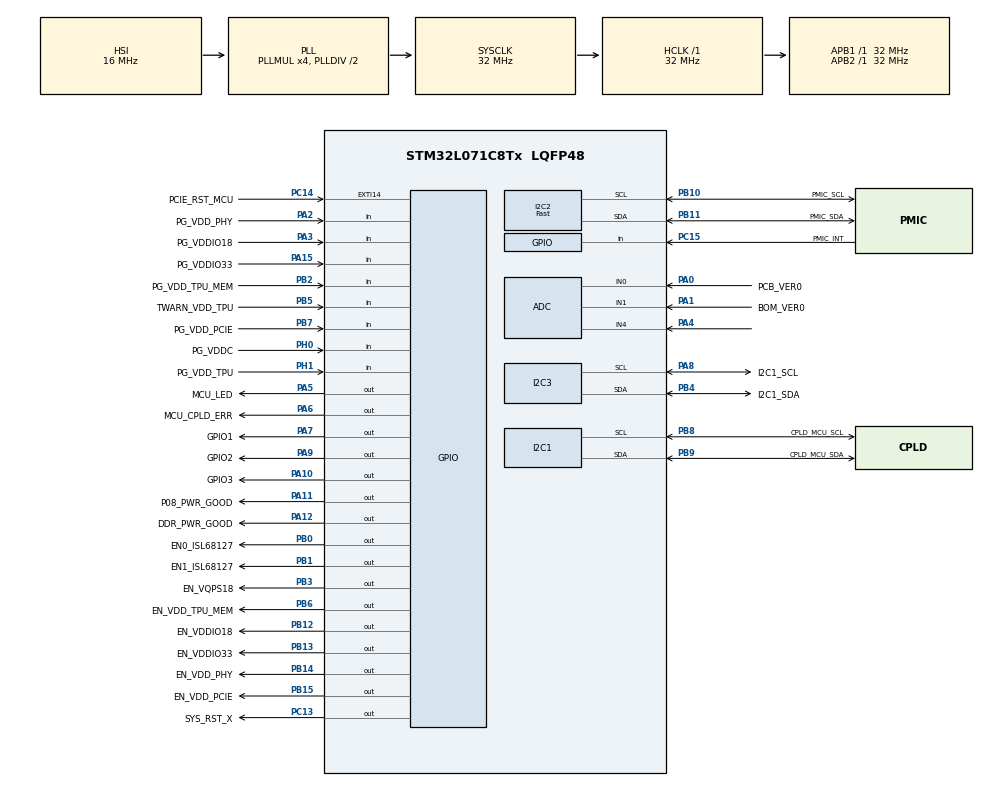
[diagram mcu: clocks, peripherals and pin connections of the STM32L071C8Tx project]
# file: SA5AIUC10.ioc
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Mcu.Family=STM32L0
PA2.GPIO_PuPd=GPIO_NOPULL
PH0-OSC_IN.GPIO_PuPd=GPIO_NOPULL
PH0-OSC_IN.Signal=GPIO_Input
PB10.Mode=I2C
PA10.GPIO_PuPd=GPIO_PULLDOWN
PB14.GPIO_Label=EN_VDD_PHY
PA3.GPIO_PuPd=GPIO_NOPULL
I2C2.Timing=0x00300F38
PA0.GPIO_Label=PCB_VER0
PA6.GPIO_Label=MCU_CPLD_ERR
PB0.GPIO_Label=EN0_ISL68127
PB6.GPIO_Label=EN_VDD_TPU_MEM
PA11.GPIO_PuPd=GPIO_PULLDOWN
PC13.GPIO_Label=SYS_RST_X
PB13.GPIO_Label=EN_VDDIO33
PB11.Signal=I2C2_SDA
PB13.Signal=GPIO_Output
PB15.Signal=GPIO_Output
PC15-OSC32_OUT.GPIO_Label=PMIC_INT
RCC.SYSCLKSource=RCC_SYSCLKSOURCE_PLLCLK
ProjectManager.StackSize=0x400
NVIC.I2C1_IRQn=true\:0\:0\:true\:false\:true\:true\:true
ADC.DiscontinuousConvMode=ENABLE
PA15.GPIO_Label=PG_VDDIO33
PA12.Signal=GPIO_Output
PA4.Mode=IN4
PB1.GPIO_PuPd=GPIO_PULLDOWN
RCC.HCLKFreq_Value=32000000
I2C2.I2C_Speed_Mode=I2C_Fast
RCC.APB2TimFreq_Value=32000000
PB6.Signal=GPIO_Output
RCC.AHBFreq_Value=32000000
PH0-OSC_IN.GPIO_Label=PG_VDDC
RCC.HSE_VALUE=8000000
PB2.Signal=GPIO_Input
RCC.PLLMUL=RCC_PLLMUL_4
PB12.GPIO_Label=EN_VDDIO18
LPTIM1.ClockPrescaler=LPTIM_PRESCALER_DIV128
PB3.GPIO_PuPd=GPIO_PULLDOWN
PB4.Mode=I2C
I2C1.NoStretchMode=I2C_NOSTRETCH_DISABLE
PA14.Mode=Serial_Wire
PB1.GPIO_Label=EN1_ISL68127
PA10.GPIO_Label=GPIO3
PA0.Mode=IN0
PC13.GPIO_PuPd=GPIO_PULLDOWN
PB7.Signal=GPIO_Input
PA8.Signal=I2C3_SCL
PB2.GPIO_PuPd=GPIO_NOPULL
PA0.Signal=ADC_IN0
PB7.GPIO_Label=PG_VDD_PCIE
Mcu.Package=LQFP48
PB9.Signal=I2C1_SDA
PB14.GPIO_PuPd=GPIO_PULLDOWN
PB1.Signal=GPIO_Output
PA6.Signal=GPIO_Output
PB15.GPIO_PuPd=GPIO_PULLDOWN
PA2.GPIO_Label=PG_VDD_PHY
PB6.GPIO_ModeDefaultOutputPP=GPIO_MODE_OUTPUT_PP
VP_LPTIM1_VS_LPTIM_counterModeInternalClock.Mode=Counts__internal_clock_event_00
PA10.Signal=GPIO_Output
PA15.Signal=GPIO_Input
PB8.GPIO_PuPdOD=GPIO_PULLUP
I2C3.Timing=0x00707CBB
PB5.GPIO_Label=TWARN_VDD_TPU
RCC.APB1TimFreq_Value=32000000
I2C3.OwnAddress2Masks=I2C_OA2_MASK03
PC14-OSC32_IN.GPIO_Label=PCIE_RST_MCU
PA12.GPIO_PuPd=GPIO_PULLDOWN
NVIC.I2C3_IRQn=true\:1\:0\:true\:false\:true\:true\:true
NVIC.EXTI4_15_IRQn=true\:0\:0\:false\:false\:true\:true\:true
PB4.Signal=I2C3_SDA
PA3.Signal=GPIO_Input
PB3.GPIO_Label=EN_VQPS18
RCC.MSI_VALUE=2097000
PB7.GPIO_PuPd=GPIO_NOPULL
I2C1.Speed=100
PB9.GPIO_Label=CPLD_MCU_SDA
I2C3.OwnAddress=0x17
PC13.Signal=GPIO_Output
PA9.GPIO_Label=GPIO2
PB6.GPIO_PuPd=GPIO_PULLUP
PB11.GPIO_Label=PMIC_SDA
PA11.GPIO_Label=P08_PWR_GOOD
PC14-OSC32_IN.Signal=GPXTI14
I2C3.OwnAddress2=0x68
PA9.GPIO_PuPd=GPIO_PULLDOWN
PA12.GPIO_Label=DDR_PWR_GOOD
I2C1.OwnAddress2=0x38
I2C1.DualAddressMode=I2C_DUALADDRESS_ENABLE
ADC.EnableAnalogWatchDog=false
PA13.Signal=SYS_SWDIO
RCC.HSI16_VALUE=16000000
PB8.GPIO_Label=CPLD_MCU_SCL
PA8.GPIO_Label=I2C1_SCL
PB11.Mode=I2C
ProjectManager.TargetToolchain=TrueSTUDIO
PB10.GPIO_Label=PMIC_SCL
PB9.Mode=I2C
PA9.Signal=GPIO_Output
I2C1.Timing=0x00707CBB
RCC.LSE_VALUE=32768
PC15-OSC32_OUT.Signal=GPIO_Input
PH1-OSC_OUT.GPIO_PuPd=GPIO_NOPULL
PA1.Signal=ADC_IN1
PB10.Signal=I2C2_SCL
PB14.Signal=GPIO_Output
PA5.Signal=GPIO_Output
board=custom
RCC.VCOOutputFreq_Value=64000000
NVIC.LPTIM1_IRQn=true\:1\:0\:true\:false\:true\:true\:true
PC14-OSC32_IN.GPIO_ModeDefaultEXTI=GPIO_MODE_IT_FALLING
PB13.GPIO_PuPd=GPIO_PULLDOWN
RCC.APB2Freq_Value=32000000
PA1.Mode=IN1
I2C1.OwnAddress2Masks=I2C_OA2_MASK03
PB4.GPIO_Label=I2C1_SDA
PB15.GPIO_Label=EN_VDD_PCIE
I2C3.DualAddressMode=I2C_DUALADDRESS_ENABLE
PA1.GPIO_Label=BOM_VER0
PH1-OSC_OUT.Signal=GPIO_Input
PC15-OSC32_OUT.GPIO_PuPd=GPIO_PULLDOWN
PH1-OSC_OUT.GPIO_Label=PG_VDD_TPU
PA13.Mode=Serial_Wire
Mcu.Name=STM32L071C8Tx
RCC.LptimClockSelection=RCC_LPTIM1CLKSOURCE_LSI
PA2.Signal=GPIO_Input
I2C1.OwnAddress=0x38
PB3.Signal=GPIO_Output
PA4.Signal=ADC_IN4
RCC.SYSCLKFreq_VALUE=32000000
PB5.Signal=GPIO_Input
PA7.GPIO_Label=GPIO1
PA5.GPIO_Label=MCU_LED
PB5.GPIO_PuPd=GPIO_PULLUP
PB6.PinState=GPIO_PIN_SET
PA11.Signal=GPIO_Output
PA14.Signal=SYS_SWCLK
PB2.GPIO_Label=PG_VDD_TPU_MEM
ProjectManager.HeapSize=0x200
PB9.GPIO_PuPdOD=GPIO_PULLUP
RCC.HSI_VALUE=16000000
PB8.Mode=I2C
PA15.GPIO_PuPd=GPIO_NOPULL
PB8.Signal=I2C1_SCL
PC14-OSC32_IN.GPIO_PuPd=GPIO_PULLUP
PA8.Mode=I2C
PB12.GPIO_PuPd=GPIO_PULLDOWN
RCC.APB1Freq_Value=32000000
PB0.Signal=GPIO_Output
PB12.Signal=GPIO_Output
PB0.GPIO_PuPd=GPIO_PULLDOWN
PA3.GPIO_Label=PG_VDDIO18
PA7.Signal=GPIO_Output

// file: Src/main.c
/* USER CODE BEGIN Header */
/**
  ******************************************************************************
  * @file           : main.c
  * @brief          : Main program body
  ******************************************************************************
  ** This notice applies to any and all portions of this file
  * that are not between comment pairs USER CODE BEGIN and
  * USER CODE END. Other portions of this file, whether
  * inserted by the user or by software development tools
  * are owned by their respective copyright owners.
  *
  * COPYRIGHT(c) 2019 STMicroelectronics
  *
  * Redistribution and use in source and binary forms, with or without modification,
  * are permitted provided that the following conditions are met:
  *   1. Redistributions of source code must retain the above copyright notice,
  *      this list of conditions and the following disclaimer.
  *   2. Redistributions in binary form must reproduce the above copyright notice,
  *      this list of conditions and the following disclaimer in the documentation
  *      and/or other materials provided with the distribution.
  *   3. Neither the name of STMicroelectronics nor the names of its contributors
  *      may be used to endorse or promote products derived from this software
  *      without specific prior written permission.
  *
  * THIS SOFTWARE IS PROVIDED BY THE COPYRIGHT HOLDERS AND CONTRIBUTORS "AS IS"
  * AND ANY EXPRESS OR IMPLIED WARRANTIES, INCLUDING, BUT NOT LIMITED TO, THE
  * IMPLIED WARRANTIES OF MERCHANTABILITY AND FITNESS FOR A PARTICULAR PURPOSE ARE
  * DISCLAIMED. IN NO EVENT SHALL THE COPYRIGHT HOLDER OR CONTRIBUTORS BE LIABLE
  * FOR ANY DIRECT, INDIRECT, INCIDENTAL, SPECIAL, EXEMPLARY, OR CONSEQUENTIAL
  * DAMAGES (INCLUDING, BUT NOT LIMITED TO, PROCUREMENT OF SUBSTITUTE GOODS OR
  * SERVICES; LOSS OF USE, DATA, OR PROFITS; OR BUSINESS INTERRUPTION) HOWEVER
  * CAUSED AND ON ANY THEORY OF LIABILITY, WHETHER IN CONTRACT, STRICT LIABILITY,
  * OR TORT (INCLUDING NEGLIGENCE OR OTHERWISE) ARISING IN ANY WAY OUT OF THE USE
  * OF THIS SOFTWARE, EVEN IF ADVISED OF THE POSSIBILITY OF SUCH DAMAGE.
  *
  ******************************************************************************
  */
/* USER CODE END Header */

#include "main.h"
#include "adc.h"
#include "i2c.h"
#include "lptim.h"
#include "gpio.h"

/* USER CODE BEGIN Includes */
#include "i2c_slave.h"
#include "mcu.h"
#include "wdt.h"
#include "tmp451.h"
#include "soc_eeprom.h"
#include "eeprom.h"
#include "stdlib.h"
#include "string.h"
#include "stdio.h"
#include "upgrade.h"
#include "sm5_gpioex.h"
#include "se5_gpioex.h"
#include "tca6416a.h"
#include "pic.h"
/* USER CODE END Includes */

/* USER CODE BEGIN PV */
I2C_REGS i2c_regs;
struct i2c_slave_ctx i2c_ctx1;
struct i2c_slave_ctx i2c_ctx3;
/* USER CODE END PV */

void SystemClock_Config(void);

/* USER CODE BEGIN 0 */

/**
  * @brief This function provides minimum delay (in milliseconds) based
  *        on variable incremented.
  * @note In the default implementation , SysTick timer is the source of time base.
  *       It is used to generate interrupts at regular time intervals where uwTick
  *       is incremented.
  * @note This function is declared as __weak to be overwritten in case of other
  *       implementations in user file.
  * @param Delay specifies the delay time length, in milliseconds.
  * @retval None
  */
#define PMIC_ADDR 0x3c

#define IO_CHIPNAME		0x01
#define IO_MODECTRL		0x24
#define BUCK1_VOUTFBDIV		0x3B
#define BUCK1_DVS0CFG1		0x48
#define BUCK1_DVS0CFG0		0x49
#define BUCK1_DVSSEL		0x53
#define BUCK1_EN_DLY		0x56
#define BUCK2_VOUTFBDIV		0x58
#define BUCK2_DVS0CFG1		0x62
#define BUCK2_DVS0CFG0		0x63
#define BUCK3_VOUTFBDIV		0x72
#define BUCK3_DVS0CFG1		0x7C
#define BUCK3_DVS0CFG0		0x7D
#define BUCK4_VOUTFBDIV		0x8c
#define BUCK4_DVS0CFG1		0x96
#define BUCK4_DVS0CFG0		0x97

int clean_pmic(void);

#define LOG_ERROR_CAUSE(cause)					\
	do {							\
		i2c_regs.cause_pwr_down = cause;		\
	} while(0)

#define PMIC_PWR_ON_I2C_CHECK(op)				\
	do {							\
		int err = (op);					\
		if (err != HAL_OK) {				\
			LOG_ERROR_CAUSE(ERR_PMIC_I2C_IO);	\
			goto poweron_fail;			\
		}						\
	} while (0)

void I2C_ClearBusyFlagErratum(I2C_HandleTypeDef *instance)
{
    GPIO_InitTypeDef GPIO_InitStruct;

    // 1. Clear PE bit.
    instance->Instance->CR1 &= ~(0x0001);

    //  2. config scl and sdl to gpio output mode
    GPIO_InitStruct.Pin = PMIC_SCL_Pin|PMIC_SDA_Pin;
    GPIO_InitStruct.Mode = GPIO_MODE_OUTPUT_OD;
    GPIO_InitStruct.Pull = GPIO_PULLUP;
    GPIO_InitStruct.Speed = GPIO_SPEED_FREQ_VERY_HIGH;
    GPIO_InitStruct.Alternate = GPIO_AF6_I2C2;
    HAL_GPIO_Init(GPIOB, &GPIO_InitStruct);

    // 3. set scl and sda to low for 40ms, tmp451 will release i2c bus
    HAL_GPIO_WritePin(PMIC_SCL_GPIO_Port, PMIC_SCL_Pin, GPIO_PIN_RESET);
    HAL_GPIO_WritePin(PMIC_SDA_GPIO_Port, PMIC_SDA_Pin, GPIO_PIN_RESET);
    HAL_Delay(40);

    // 4. reconfig scl and sda to i2c functional pin
    GPIO_InitStruct.Pin = PMIC_SCL_Pin|PMIC_SDA_Pin;
    GPIO_InitStruct.Mode = GPIO_MODE_AF_OD;
    GPIO_InitStruct.Pull = GPIO_PULLUP;
    GPIO_InitStruct.Speed = GPIO_SPEED_FREQ_VERY_HIGH;
    GPIO_InitStruct.Alternate = GPIO_AF6_I2C2;
    HAL_GPIO_Init(GPIOB, &GPIO_InitStruct);

    // 15. Enable the I2C peripheral by setting the PE bit in I2Cx_CR1 register
    instance->Instance->CR1 |= 0x0001;

    // Call initialization function.
    HAL_I2C_Init(instance);
}

#define GPIO_SET_CHECK(port, pin, state)			\
	do {							\
		HAL_GPIO_WritePin(port, pin, state);		\
	} while (0)

static inline void led_on(void);
static inline void led_off(void);

static volatile int is_chip_alive;
static volatile int is_chip_ready = 1;
static volatile unsigned long timer_start_tick;
static volatile unsigned long timer_timeout;

static inline void timer_start(unsigned long timeout)
{
	__disable_irq();
	timer_timeout = timeout;
	timer_start_tick = HAL_GetTick();
	__enable_irq();
}

static inline int timer_is_timeout(void)
{
	int is_timeout;
	if (timer_timeout) {
		is_timeout = HAL_GetTick() - timer_start_tick >= timer_timeout;
        if (is_timeout)
            timer_timeout = 0;
	} else {
		is_timeout = 1;
    }
	return is_timeout;
}

void poll_pcie_rst(void)
{
	__disable_irq();
	if (i2c_regs.mode_flag == 2 || i2c_regs.mode_flag == 3) {
		if (is_chip_ready) {
			if (GPIO_PIN_SET ==
			    HAL_GPIO_ReadPin(PCIE_RST_MCU_GPIO_Port,
					     PCIE_RST_MCU_Pin)) {

				HAL_GPIO_WritePin(SYS_RST_X_GPIO_Port,
						  SYS_RST_X_Pin,
						  GPIO_PIN_SET);
				is_chip_alive = 1;
			}
		} else {
			is_chip_ready = timer_is_timeout();
		}
	}
	__enable_irq();
}
/* this function should be called when pcie ep reset falling edge */
void HAL_GPIO_EXTI_Callback(uint16_t GPIO_Pin)
{
	/* we must working on pcie adapter */
	i2c_regs.vender = VENDER_SM5_P;
	i2c_regs.mode_flag = 2;
	if (is_mixed_mode())
		i2c_regs.mode_flag = 3;

	HAL_GPIO_WritePin(SYS_RST_X_GPIO_Port, SYS_RST_X_Pin, GPIO_PIN_RESET);
	timer_start(30);
	is_chip_ready = 0;
	is_chip_alive = 0;
	wdt_reset();	/* reset to initial state */
}

#define isl91212_voltage(v, val)				\
	do {							\
		const int step = 1200;				\
		uint16_t dac = (v * 1000 * 1000) / step;	\
		((uint8_t *)val)[0] = (dac >> 2) & 0xff;	\
		((uint8_t *)val)[1] = (dac & 0x3) << 6;		\
	} while (0)

void PowerON(void)
{
	unsigned char tmp[8];
	i2c_regs.cause_pwr_down = 0;
	uint8_t i = 0;
	uint8_t pcie_mode = 0;

	if (clean_pmic()) {
		goto poweron_fail;
	}

	tmp[0] = 0;
	PMIC_PWR_ON_I2C_CHECK(HAL_I2C_Mem_Write(&hi2c2,PMIC_ADDR, BUCK1_VOUTFBDIV,1, tmp, 1, 1000));// 1.2v
	PMIC_PWR_ON_I2C_CHECK(HAL_I2C_Mem_Write(&hi2c2,PMIC_ADDR, BUCK2_VOUTFBDIV,1, tmp, 1, 1000));// 1.2v
	PMIC_PWR_ON_I2C_CHECK(HAL_I2C_Mem_Write(&hi2c2,PMIC_ADDR, BUCK3_VOUTFBDIV,1, tmp, 1, 1000));// 1.2v

	tmp[0] = 0xE5;
	PMIC_PWR_ON_I2C_CHECK(HAL_I2C_Mem_Write(&hi2c2,PMIC_ADDR, IO_MODECTRL,1, tmp, 1, 1000));// enable buck1-3

	isl91212_voltage(1, tmp);
	PMIC_PWR_ON_I2C_CHECK(HAL_I2C_Mem_Write(&hi2c2,PMIC_ADDR, BUCK1_DVS0CFG1,1, tmp, 2, 1000));// LDO1V_IN

	HAL_Delay(2);
	HAL_GPIO_WritePin(GPIOB, EN_VDDIO18_Pin, GPIO_PIN_SET);
	HAL_Delay(1);
	if (HAL_GPIO_ReadPin(PG_VDDIO18_GPIO_Port, PG_VDDIO18_Pin) == GPIO_PIN_RESET) {
		i2c_regs.cause_pwr_down |= ERR_VDDIO18;
		goto poweron_fail;
	}

	isl91212_voltage(1.1, tmp);
	PMIC_PWR_ON_I2C_CHECK(HAL_I2C_Mem_Write(&hi2c2,PMIC_ADDR, BUCK2_DVS0CFG1,1, tmp, 2, 1000));//DDR_VDDQ 1.1v
#if 0
	/* LPDDR4 */
	isl91212_voltage(1.1, tmp);
	i2c_regs.ddr = 1;
#else
	/* LPDDR4X */
	isl91212_voltage(0.6, tmp);
	i2c_regs.ddr = 0;
#endif
	PMIC_PWR_ON_I2C_CHECK(HAL_I2C_Mem_Write(&hi2c2,PMIC_ADDR, BUCK3_DVS0CFG1,1, tmp, 2, 1000));//DDR*_DDR_VDDQLP 0.6v

	HAL_GPIO_WritePin(GPIOB, EN1_ISL68127_Pin, GPIO_PIN_SET);
	HAL_Delay(1);
	if (HAL_GPIO_ReadPin(PG_VDDC_GPIO_Port, PG_VDDC_Pin) == GPIO_PIN_RESET) {
		i2c_regs.cause_pwr_down |= ERR_VDDC;
		goto poweron_fail;
	}

	HAL_GPIO_WritePin(GPIOB, EN_VDDIO33_Pin, GPIO_PIN_SET);
	HAL_Delay(1);
	if (HAL_GPIO_ReadPin(PG_VDDIO33_GPIO_Port, PG_VDDIO33_Pin) == GPIO_PIN_RESET) {
		i2c_regs.cause_pwr_down |= ERR_VDDIO33;
		goto poweron_fail;
	}

	// 1 soc 2 PCIE 3 mixed mode(pcie+soc)
	for (i = 0; i <  5; i++) {
		if (GPIO_PIN_RESET == HAL_GPIO_ReadPin(PCIE_RST_MCU_GPIO_Port,PCIE_RST_MCU_Pin)) {
			pcie_mode++;
		}
	}

	if (pcie_mode > 3) {
		i2c_regs.mode_flag = 2;
		if (is_mixed_mode()) {
			i2c_regs.mode_flag = 3;
		}
	} else {
		i2c_regs.mode_flag = 1;
	}

	HAL_GPIO_WritePin(GPIOB, EN_VDD_PHY_Pin, GPIO_PIN_SET);//EN_PHY
	HAL_Delay(1);
	if (HAL_GPIO_ReadPin(PG_VDD_PHY_GPIO_Port, PG_VDD_PHY_Pin) == GPIO_PIN_RESET) {
		i2c_regs.cause_pwr_down |= ERR_VDDPHY;
		goto poweron_fail;
	}

	HAL_GPIO_WritePin(GPIOA, P08_PWR_GOOD_Pin, GPIO_PIN_SET);
	HAL_Delay(1);

	HAL_GPIO_WritePin(GPIOB, EN_VDD_PCIE_Pin, GPIO_PIN_SET);
	HAL_Delay(1);
	if (HAL_GPIO_ReadPin(PG_VDD_PCIE_GPIO_Port, PG_VDD_PCIE_Pin) == GPIO_PIN_RESET) {
		i2c_regs.cause_pwr_down |= ERR_VDDPCIE;
		goto poweron_fail;
	}

	HAL_GPIO_WritePin(GPIOA, GPIO2_Pin, GPIO_PIN_SET);
	HAL_Delay(1);
	HAL_GPIO_WritePin(GPIOB, EN0_ISL68127_Pin, GPIO_PIN_SET);
	HAL_Delay(1);
	if (HAL_GPIO_ReadPin(PG_VDD_TPU_GPIO_Port, PG_VDD_TPU_Pin) == GPIO_PIN_RESET) {
		i2c_regs.cause_pwr_down |= ERR_VDDTPU;
		goto poweron_fail;
	}

	HAL_GPIO_WritePin(GPIOA, GPIO3_Pin, GPIO_PIN_SET);
	HAL_Delay(1);

	HAL_GPIO_WritePin(GPIOB, EN_VDD_TPU_MEM_Pin, GPIO_PIN_RESET);
	HAL_Delay(2);
#if 0 //PG can not be detect in some board
	if (HAL_GPIO_ReadPin(PG_VDD_TPU_MEM_GPIO_Port, PG_VDD_TPU_MEM_Pin) == GPIO_PIN_RESET) {
		HAL_Delay(5);
		if (HAL_GPIO_ReadPin(PG_VDD_TPU_MEM_GPIO_Port, PG_VDD_TPU_MEM_Pin) == GPIO_PIN_RESET)
			i2c_regs.cause_pwr_down = ERR_VDDTPUMEM;
		goto poweron_fail;
	}
#endif
	HAL_GPIO_WritePin(GPIOA, GPIO1_Pin, GPIO_PIN_SET);
	HAL_Delay(1);
	HAL_GPIO_WritePin(EN_VQPS18_GPIO_Port, EN_VQPS18_Pin, GPIO_PIN_SET);

	i2c_slave_reset(&i2c_ctx3);
//	HAL_Delay(30);
//
//	GPIO_SET_CHECK(SYS_RST_X_GPIO_Port, SYS_RST_X_Pin, GPIO_PIN_RESET);
	HAL_Delay(30);
	GPIO_SET_CHECK(SYS_RST_X_GPIO_Port, SYS_RST_X_Pin, GPIO_PIN_SET);
	HAL_Delay(30);
	HAL_GPIO_WritePin(GPIOA, DDR_PWR_GOOD_Pin, GPIO_PIN_SET);

	GPIO_SET_CHECK(SYS_RST_X_GPIO_Port, SYS_RST_X_Pin, GPIO_PIN_RESET);
	HAL_Delay(30);
	//POLL PCIEE_RST STATUS FOR SYS_RST
	while (GPIO_PIN_RESET == HAL_GPIO_ReadPin(PCIE_RST_MCU_GPIO_Port, PCIE_RST_MCU_Pin))
		;
	HAL_GPIO_WritePin(SYS_RST_X_GPIO_Port, SYS_RST_X_Pin, GPIO_PIN_SET);

	/*Configure GPIO pin : PtPin */
	GPIO_InitTypeDef GPIO_InitStruct = {0};
	GPIO_InitStruct.Pin = PCIE_RST_MCU_Pin;
	GPIO_InitStruct.Mode = GPIO_MODE_IT_FALLING;
	GPIO_InitStruct.Pull = GPIO_PULLUP;
	HAL_GPIO_Init(PCIE_RST_MCU_GPIO_Port, &GPIO_InitStruct);

	__HAL_GPIO_EXTI_CLEAR_IT(PCIE_RST_MCU_Pin);
	HAL_NVIC_ClearPendingIRQ(EXTI4_15_IRQn);
	HAL_NVIC_SetPriority(EXTI4_15_IRQn, 0, 0);
	HAL_NVIC_EnableIRQ(EXTI4_15_IRQn);

poweron_fail:
	if (i2c_regs.cause_pwr_down == 0) {
		if (i2c_regs.vender == VENDER_SE5 && is_tca6416a_available)
			se5_error_led_on();

		i2c_regs.power_good = 1;
		is_chip_alive = 1;
	} else {
		i2c_regs.power_good = 0;
		intr_status_set(POWERON_ERR);
		PowerDOWN();
	}

	return;
}

static inline void intr_pin_set(int status)
{
	if (i2c_regs.vender == VENDER_SE5)
		return;

	status = status ? GPIO_PIN_SET : GPIO_PIN_RESET;

	HAL_GPIO_WritePin(MCU_CPLD_ERR_GPIO_Port,
			  MCU_CPLD_ERR_Pin,
			  status);
}

void intr_status_set(uint8_t intr)
{
	__disable_irq();
	i2c_regs.intr_status1 |= intr;
	intr_pin_set(i2c_regs.intr_status1 & ~(i2c_regs.intr_mask1));
	__enable_irq();
}

void intr_status_clr(uint8_t intr)
{
	__disable_irq();
	i2c_regs.intr_status1 &= ~intr;
	intr_pin_set(i2c_regs.intr_status1 & ~(i2c_regs.intr_mask1));
	__enable_irq();
}

void intr_mask_set(uint8_t mask)
{
	__disable_irq();
	i2c_regs.intr_mask1 = mask;
	intr_pin_set(i2c_regs.intr_status1 & ~(i2c_regs.intr_mask1));
	__enable_irq();
}

#define PMIC_CLEAN_I2C_CHECK(op)					\
	do {								\
		int err = (op);						\
		if (err != HAL_OK) {					\
			LOG_ERROR_CAUSE(ERR_PMIC_I2C_IO);		\
			return -1;					\
		}							\
	} while (0)

int clean_pmic(void)
{
	uint8_t tmp[2] = {0, 0};
	uint32_t tickstart = HAL_GetTick();
	int err;

	if (pmic_need_poweroff()) {
		HAL_Delay(5);

		do {
			err = HAL_I2C_Mem_Read(&hi2c2, PMIC_ADDR, IO_CHIPNAME, 1, tmp, 1, 10);
			if (err == HAL_OK)
				break;
		} while(HAL_GetTick() - tickstart <= 1000);

		if (err != HAL_OK) {
			i2c_regs.cause_pwr_down = ERR_PMIC_I2C_IO;
			return -1;
		}

		tmp[0] = tmp[1] = 0;

		PMIC_CLEAN_I2C_CHECK(HAL_I2C_Mem_Write(&hi2c2, PMIC_ADDR, IO_MODECTRL, 1, tmp, 1, 1000));
		PMIC_CLEAN_I2C_CHECK(HAL_I2C_Mem_Write(&hi2c2, PMIC_ADDR, BUCK1_VOUTFBDIV, 1, tmp, 1, 1000));
		PMIC_CLEAN_I2C_CHECK(HAL_I2C_Mem_Write(&hi2c2, PMIC_ADDR, BUCK2_VOUTFBDIV, 1, tmp, 1, 1000));
		PMIC_CLEAN_I2C_CHECK(HAL_I2C_Mem_Write(&hi2c2, PMIC_ADDR, BUCK3_VOUTFBDIV, 1, tmp, 1, 1000));
		PMIC_CLEAN_I2C_CHECK(HAL_I2C_Mem_Write(&hi2c2, PMIC_ADDR, BUCK1_DVS0CFG1, 1, tmp, 2, 1000));
		PMIC_CLEAN_I2C_CHECK(HAL_I2C_Mem_Write(&hi2c2, PMIC_ADDR, BUCK2_DVS0CFG1, 1, tmp, 2, 1000));
		PMIC_CLEAN_I2C_CHECK(HAL_I2C_Mem_Write(&hi2c2, PMIC_ADDR, BUCK3_DVS0CFG1, 1, tmp, 2, 1000));
	}

	return 0;
}

void PowerDOWN(void)
{
	/*Configure GPIO pin : PtPin */
	GPIO_InitTypeDef GPIO_InitStruct = {0};
	GPIO_InitStruct.Pin = PCIE_RST_MCU_Pin;
	GPIO_InitStruct.Mode = GPIO_MODE_INPUT;
	GPIO_InitStruct.Pull = GPIO_PULLUP;
	HAL_GPIO_Init(PCIE_RST_MCU_GPIO_Port, &GPIO_InitStruct);

	HAL_NVIC_DisableIRQ(EXTI4_15_IRQn);

	i2c_regs.power_good = 0;
	clean_pmic();
	HAL_Delay(100);

	HAL_GPIO_WritePin(GPIOA, DDR_PWR_GOOD_Pin, GPIO_PIN_RESET);
	HAL_Delay(1);
	GPIO_SET_CHECK(SYS_RST_X_GPIO_Port, SYS_RST_X_Pin, GPIO_PIN_RESET);
	HAL_Delay(1);
	HAL_GPIO_WritePin(EN_VQPS18_GPIO_Port, EN_VQPS18_Pin, GPIO_PIN_RESET);
	HAL_Delay(1);
	HAL_GPIO_WritePin(GPIOA, GPIO1_Pin, GPIO_PIN_RESET);
	HAL_Delay(1);
	HAL_GPIO_WritePin(GPIOB, EN_VDD_TPU_MEM_Pin, GPIO_PIN_SET);
	HAL_Delay(1);
	HAL_GPIO_WritePin(GPIOA, GPIO3_Pin, GPIO_PIN_RESET);
	HAL_Delay(1);
	HAL_GPIO_WritePin(GPIOB, EN1_ISL68127_Pin, GPIO_PIN_RESET);
	HAL_Delay(1);
	HAL_GPIO_WritePin(GPIOB, EN_VDD_PCIE_Pin, GPIO_PIN_RESET);
	HAL_Delay(1);
	HAL_GPIO_WritePin(GPIOA, P08_PWR_GOOD_Pin, GPIO_PIN_RESET);
	HAL_Delay(1);
	HAL_GPIO_WritePin(GPIOB, EN_VDD_PHY_Pin, GPIO_PIN_RESET);//EN_PHY
	HAL_Delay(1);
	if (pmic_need_poweroff()) {
		HAL_GPIO_WritePin(GPIOB, EN_VDDIO33_Pin, GPIO_PIN_RESET);
		HAL_Delay(1);
	}

	HAL_GPIO_WritePin(GPIOB, EN0_ISL68127_Pin, GPIO_PIN_RESET);
	HAL_Delay(1);
	if (pmic_need_poweroff()) {
		HAL_GPIO_WritePin(GPIOB, EN_VDDIO18_Pin, GPIO_PIN_RESET);
		HAL_Delay(1);
	}

	i2c_slave_reset(&i2c_ctx3);

	wdt_reset();	/* reset to initial state */
}

void BM1684_RST(void)
{
	intr_status_set(RESET_OP);

	GPIO_SET_CHECK(SYS_RST_X_GPIO_Port, SYS_RST_X_Pin, GPIO_PIN_RESET);
	HAL_Delay(30);
	wdt_reset();	/* reset to initial state */
	GPIO_SET_CHECK(SYS_RST_X_GPIO_Port, SYS_RST_X_Pin, GPIO_PIN_SET);

	return ;
}
static int needpoweron = 0;
void BM1684_REBOOT(void)
{
	PowerDOWN();
	HAL_Delay(50);
	needpoweron = 1;
}

static inline void led_on(void)
{
	HAL_GPIO_WritePin(GPIOA, MCU_LED_Pin, GPIO_PIN_SET);
}

static inline void led_off(void)
{
	HAL_GPIO_WritePin(GPIOA, MCU_LED_Pin, GPIO_PIN_RESET);
}

static inline void led_flicker(void)
{
	/* flicker at 1Hz */
	/* it is too slow by this way */
	// tick = (tick / 500) & 1;
	/* consider this */
	// tick = (tick / 512) & 1;
	// tick &= 1 << 9; //faster then divide

	if (HAL_GetTick() & (1 << 9))
		led_on();
	else
		led_off();
}

static inline void led_flicker_high(void)
{
	if (HAL_GetTick() & (1 << 6))
		led_on();
	else
		led_off();
}

static void led_update(void)
{

	if (i2c_regs.intr_status1 & (OVER_TEMP_POWEROFF | OVER_TEMP_ALERT))
		led_on();
	else if (i2c_regs.power_good)
		led_flicker();
	else
		led_off();
}

void SET_HW_Ver(void)
{
	  uint8_t i;
	  uint8_t PCB_Ver0 = 0;
	  uint8_t BOM_Ver0 = 0;
	  uint16_t ADC_Buf[2];

	  for (i = 0; i < 2; i++) {
		  HAL_ADC_Start(&hadc);
		  HAL_ADC_PollForConversion(&hadc, 0XFFFF);

		  if(HAL_IS_BIT_SET(HAL_ADC_GetState(&hadc), HAL_ADC_STATE_REG_EOC)) {
			  ADC_Buf[i] = HAL_ADC_GetValue(&hadc);
		  }
	  }

	  //0,0.18,0.46,0.71,1,1.28
	  //0,368, 942,1454,2048,2621
	  if (ADC_Buf[0] < 200) {
		  PCB_Ver0 = 0;
	  } else if ((ADC_Buf[0] > 250) && (ADC_Buf[0] < 600)) {
		  PCB_Ver0 = 1;
	  } else if ((ADC_Buf[0] > 700) && (ADC_Buf[0] < 1150)) {
		  PCB_Ver0 = 2;
	  } else if ((ADC_Buf[0] > 1200) && (ADC_Buf[0] < 1700)) {
		  PCB_Ver0 = 3;
	  } else if ((ADC_Buf[0] > 1750) && (ADC_Buf[0] < 2300)) {
		  PCB_Ver0 = 4;
	  } else if ((ADC_Buf[0] > 2350) && (ADC_Buf[0] < 2900)) {
		  PCB_Ver0 = 5;
	  }

	  if (ADC_Buf[1] < 200) {
		  BOM_Ver0 = 0;
	  } else if ((ADC_Buf[1] > 250) && (ADC_Buf[1] < 600)) {
		  BOM_Ver0 = 1;
	  } else if ((ADC_Buf[1] > 700) && (ADC_Buf[1] < 1150)) {
		  BOM_Ver0 = 2;
	  } else if ((ADC_Buf[1] > 1200) && (ADC_Buf[1] < 1700)) {
		  BOM_Ver0 = 3;
	  } else if ((ADC_Buf[1] > 1750) && (ADC_Buf[1] < 2300)) {
		  BOM_Ver0 = 4;
	  } else if ((ADC_Buf[1] > 2350) && (ADC_Buf[1] < 2900)) {
		  BOM_Ver0 = 5;
	  }

	  i2c_regs.hw_ver = (PCB_Ver0 << 4) | BOM_Ver0;

	  HAL_ADC_Stop(&hadc);
}

#define TMP451_SLAVE_ADDR (0x98)
static uint8_t alert_cnt = 0;
static uint8_t powerdown_cnt = 0;

#define TMP451_MAIN_I2C_CHECK(op)					\
	({								\
		do {							\
			int err, retry;					\
			for (retry = 0; retry < 5; ++retry) {		\
				err = (op);				\
				if (err == HAL_OK)			\
					break;				\
				I2C_ClearBusyFlagErratum(&hi2c2);	\
			}						\
			if (err != HAL_OK) {				\
				LOG_ERROR_CAUSE(ERR_PMIC_I2C_IO);	\
			}						\
		} while (0);						\
		op;						\
	})

#define TMP451_ALERT		(0x22)
#define TMP451_SMBTO_MASK	(1 << 7)

#define TMP451_CONFIG_RD_ADDR	(0x03)
#define TMP451_CONFIG_WR_ADDR	(0x09)
#define TMP451_RANGE_MASK	(1 << 2)

void READ_Temper(void)
{
	/* enable tmp451 smbus timeout feature */
	static uint8_t smbto = 0;
	int soc, board;
	uint8_t tmp;
	int err;

	if (smbto == 0) {
		/* tmp451 smbus timeout will release sda and scl after 20ms from i2c start */
		/* 30ms delay is for safety */
		HAL_Delay(30);
		/* first time tempareture get, from stm32 bootup */
		TMP451_MAIN_I2C_CHECK(HAL_I2C_Mem_Read(&hi2c2, TMP451_SLAVE_ADDR, TMP451_ALERT, 1, &smbto, 1, 1000));
		if ((smbto & TMP451_SMBTO_MASK) == 0) {
			/* tmp451 has not enabled smbus timeout feature, enable it */
			smbto |= TMP451_SMBTO_MASK;
			TMP451_MAIN_I2C_CHECK(HAL_I2C_Mem_Write(&hi2c2, TMP451_SLAVE_ADDR, TMP451_ALERT, 1, &smbto, 1, 1000));
		}
		/* enable extended mode */
		TMP451_MAIN_I2C_CHECK(HAL_I2C_Mem_Read(&hi2c2, TMP451_SLAVE_ADDR, TMP451_CONFIG_RD_ADDR, 1, &tmp, 1, 1000));
		tmp |= TMP451_RANGE_MASK;
		TMP451_MAIN_I2C_CHECK(HAL_I2C_Mem_Write(&hi2c2, TMP451_SLAVE_ADDR, TMP451_CONFIG_WR_ADDR, 1, &tmp, 1, 1000));

		/* value will changed on next conversion */
		/* default conversion rate is 16/s, it is 62.5ms pertimes */
		/* so wait 63 ms for next conversion */
		HAL_Delay(63);
	}

	// detection of temperature value
	TMP451_MAIN_I2C_CHECK(HAL_I2C_Mem_Read(&hi2c2,TMP451_SLAVE_ADDR, 0x0, 1, &tmp, 1, 1000));
	/* tmp451 is in extended mode, real temperature = register value - 64 */
	board = (int)tmp - 64;
	soc = board + 5;

	err = TMP451_MAIN_I2C_CHECK(HAL_I2C_Mem_Read(&hi2c2,TMP451_SLAVE_ADDR, 0x1,1, &tmp, 1, 1000));
	if (err == HAL_OK)
		soc = (int)tmp - 64;

	tmp451_set_temp(soc, board);

	/* correct soc temperature */
	soc -= 5;

	mcu_set_temp(soc, board);

	if (soc > i2c_regs.critical_temp && !needpoweron) {
		++powerdown_cnt;
		if (powerdown_cnt == 3) {
			eeprom_log_power_off_reason(
				EEPROM_POWER_OFF_REASON_OVER_HEAT);
			intr_status_set(OVER_TEMP_POWEROFF);
			PowerDOWN();
			powerdown_cnt = 0;
			if (i2c_regs.critical_action == CRITICAL_ACTION_REBOOT)
				needpoweron = 1;
			else
				needpoweron = 0;
		}
	} else if (soc > 110) {
		++alert_cnt;
		if (alert_cnt == 3) {
			intr_status_set(OVER_TEMP_ALERT);
			alert_cnt = 0;
		}
	} else {
		alert_cnt = 0;
		powerdown_cnt = 0;
	}

	if (needpoweron) {
		if (i2c_regs.hw_ver == 0x12) {
			if (soc < i2c_regs.repoweron_temp) {
				if (i2c_regs.vender == VENDER_SE5 &&
		    		    (is_pic_available || is_tca6416a_available)) {
					se5_reset_board();
				} else {
					PowerON();
				}
				needpoweron = 0;
			}
		} else {
			if (soc < i2c_regs.repoweron_temp && board < 80) {
				if (i2c_regs.vender == VENDER_SE5 &&
				(is_pic_available || is_tca6416a_available)) {
					se5_reset_board();
				} else {
					PowerON();
				}
				needpoweron = 0;
			}
		}
	}
	se5_heater_ctrl(soc);
}

#define POWER_OFF_TIME 5
static int poweroffcheck = POWER_OFF_TIME;
int needpoweroff = 0;
void HAL_LPTIM_CompareMatchCallback(LPTIM_HandleTypeDef *hlptim)
{
	wdt_isr();
	mcu_tick_isr();
	if (i2c_regs.vender == VENDER_SM5_S &&
	    is_tca6416a_available) {
		if (sm5_gpioex_getpoweroff() == 1)
		{
			poweroffcheck--;
			if (poweroffcheck == 0)
			{
				needpoweroff = 1;
			}
		}
		else
		{
			poweroffcheck = POWER_OFF_TIME;
		}
	}
}
/* USER CODE END 0 */

int main(void)
{
	/* USER CODE BEGIN 1 */
	//  uint16_t board_type_addr = BOARD_TYPE;
	setup_stage();
	if (i2c_regs.stage == RUN_STAGE_LOADER) {
		/* success */
		if (check_app() == 0) {
			app_start();
		}
	}
	/* USER CODE END 1 */

	/* MCU Configuration--------------------------------------------------------*/

	/* Reset of all peripherals, Initializes the Flash interface and the Systick. */
	HAL_Init();

	/* USER CODE BEGIN Init */
	EEPROM_ReadBytes(VENDER_Addr, (uint8_t *)&i2c_regs.vender, 1);
#if 0
	i2c_regs.vender = VENDER_SM5_S;
	EEPROM_WriteBytes(VENDER_Addr, (uint8_t *)&i2c_regs.vender, 1);
#endif
	if (i2c_regs.vender == 0)
		i2c_regs.vender = VENDER_SA5;

	i2c_regs.sw_ver = MCU_VERSION;
	i2c_regs.pmic_poweroff = 1;

	/* USER CODE END Init */

	/* Configure the system clock */
	SystemClock_Config();

	/* Initialize all configured peripherals */
	MX_GPIO_Init();
	MX_ADC_Init();
	MX_I2C2_Init();
	MX_I2C1_Init();
	MX_I2C3_Init();
	MX_LPTIM1_Init();
	/* USER CODE BEGIN 2 */
	HAL_ADCEx_Calibration_Start(&hadc, ADC_SINGLE_ENDED);
	/* put led to off state */
	led_off();

	HAL_LPTIM_Start1HZ(&hlptim1);
	/*

	   1684 -> hi2c3 -> 0x17	  MCU
	   1684 -> hi2c3 -> 0x40	  GPIOEX
	   1684 -> hi2c3 -> 0x69	  WDT
	   1684 -> hi2c3 -> 0x6A	  EEPROM
	   1684 -> hi2c3 -> 0x6B	  TMP451

	   if i2c_regs.vender == VENDER_SA5
	   {
	   control -> hi2c1 -> 0x38-3F MCU
	   control -> hi2c1 -> 0x6A	  EEPROM
	   1684	  -> hi2c3 -> 0x68	  RTC DS1307
	   }
	   else //VENDER_SM5
	   {
	   1684	  -> hi2c3 -> 0x6C	  TCA6416  i2c to 16 gpio

	   hi2c1 -> TCA6416	i2c to 16 gpio
	   }
	   */

	tca6416a_probe();
	pic_probe();

	if (is_tca6416a_available && is_pic_available) {
		/* SM5 V3 or later motherboard */
		i2c_regs.vender = VENDER_SE5;
		se5_gpioex_init();
		PowerON();
	} else if (!is_tca6416a_available) {
		/* pcie board or test board */
		PowerON();
		if (i2c_regs.vender != VENDER_SA5) {
			if (i2c_regs.mode_flag == 2 || i2c_regs.mode_flag == 3) {
				/* on pcie board */
				/* SA5 --> SA5 */
				/* SE5 --> SM5P */
				/* SM5S --> SM5P */
				/* SM5P --> SM5P */
				i2c_regs.vender = VENDER_SM5_P;
			} else {
				/* sm5s on test board */
				/* SA5 --> SA5 */
				/* SE5 --> SM5S */
				/* SM5S --> SM5S */
				/* SM5P --> SM5S */
				i2c_regs.vender = VENDER_SM5_S;
			}
		}
	} else {
		/* only tca6416a present */
		/* se5 motherboard or sm5s motherboard */
		/* working at se5 mode or sm5s mode */
		/* SE5 --> SE5 */
		/* SA5 --> SE5 */
		/* SM5S --> SM5S */
		/* SM5P --> SM5S */
		switch (i2c_regs.vender) {
		case VENDER_SA5:
			i2c_regs.vender = VENDER_SE5;
			break;
		case VENDER_SM5_P:
			i2c_regs.vender = VENDER_SM5_S;
			break;
		}

		if (i2c_regs.vender == VENDER_SM5_S) {
			sm5_gpioex_init();
			sm5_gpioex_led1_on();
		} else {
			se5_gpioex_init();
		}
		PowerON();
	}

	i2c_ctx1.id = 1;
	i2c_ctx3.id = 3;

	if (i2c_regs.vender == VENDER_SA5)
		i2c_init(&i2c_ctx1, hi2c1.Instance);
	else
		HAL_NVIC_DisableIRQ(I2C1_IRQn);

	i2c_init(&i2c_ctx3, hi2c3.Instance);

	tmp451_init();
	mcu_init();
	wdt_init();
	eeprom_init();

	i2c_slave_start(&i2c_ctx3);
	if (i2c_regs.vender == VENDER_SA5)
		i2c_slave_start(&i2c_ctx1);

	// make sure PB6 is high
	//  HAL_GPIO_WritePin(GPIOB, EN_VDD_TPU_MEM_Pin, GPIO_PIN_SET);
	//  HAL_GPIO_WritePin(GPIOB, TPU_I2C_ADD3_Pin, GPIO_PIN_SET);
	// set PCB & BOM version by voltage value
	SET_HW_Ver();
	set_mcu_default_feature();

	/* USER CODE END 2 */

	/* Infinite loop */
	/* USER CODE BEGIN WHILE */
	while (1)
	{
		// response CPLD's commands
		extern void mcu_process_cmd_slow(void);
		mcu_process_cmd_slow();
		soc_wdt_reset_process();

		if (is_chip_alive) {
			// read temperature every 2 seconds
			static uint32_t last_read_time = 0;
			static int ever_read = 0;
			if (ever_read == 0) {
				/* read temperature at boot time */
				READ_Temper();
				ever_read = 1;
				last_read_time = HAL_GetTick();
			} else {
				uint32_t read_time = HAL_GetTick();

				if (read_time - last_read_time > 2000) {
					READ_Temper();
					last_read_time = read_time;
				}
			}
		}

		led_update();

		//POLL PCIEE_RST STATUS FOR SYS_RST
		poll_pcie_rst();
		/* USER CODE END WHILE */

		/* USER CODE BEGIN 3 */
		if (needpoweroff)
		{
			needpoweroff = 0;
			PowerDOWN();
			sm5_gpioex_led1_off();
			sm5_gpioex_12v_off();
		}

		if (i2c_regs.vender == VENDER_SE5) {
			HAL_NVIC_DisableIRQ(I2C3_IRQn);
			HAL_NVIC_DisableIRQ(LPTIM1_IRQn);
			se5_smb_alert();
			HAL_NVIC_EnableIRQ(I2C3_IRQn);
			HAL_NVIC_EnableIRQ(LPTIM1_IRQn);
		}
	}
	/* USER CODE END 3 */
}

void SystemClock_Config(void)
{
  RCC_OscInitTypeDef RCC_OscInitStruct = {0};
  RCC_ClkInitTypeDef RCC_ClkInitStruct = {0};
  RCC_PeriphCLKInitTypeDef PeriphClkInit = {0};

  /** Configure the main internal regulator output voltage
  */
  __HAL_PWR_VOLTAGESCALING_CONFIG(PWR_REGULATOR_VOLTAGE_SCALE1);
  /** Initializes the CPU, AHB and APB busses clocks
  */
  RCC_OscInitStruct.OscillatorType = RCC_OSCILLATORTYPE_HSI|RCC_OSCILLATORTYPE_LSI;
  RCC_OscInitStruct.HSIState = RCC_HSI_ON;
  RCC_OscInitStruct.HSICalibrationValue = RCC_HSICALIBRATION_DEFAULT;
  RCC_OscInitStruct.LSIState = RCC_LSI_ON;
  RCC_OscInitStruct.PLL.PLLState = RCC_PLL_ON;
  RCC_OscInitStruct.PLL.PLLSource = RCC_PLLSOURCE_HSI;
  RCC_OscInitStruct.PLL.PLLMUL = RCC_PLLMUL_4;
  RCC_OscInitStruct.PLL.PLLDIV = RCC_PLLDIV_2;
  if (HAL_RCC_OscConfig(&RCC_OscInitStruct) != HAL_OK)
  {
    Error_Handler();
  }
  /** Initializes the CPU, AHB and APB busses clocks
  */
  RCC_ClkInitStruct.ClockType = RCC_CLOCKTYPE_HCLK|RCC_CLOCKTYPE_SYSCLK
                              |RCC_CLOCKTYPE_PCLK1|RCC_CLOCKTYPE_PCLK2;
  RCC_ClkInitStruct.SYSCLKSource = RCC_SYSCLKSOURCE_PLLCLK;
  RCC_ClkInitStruct.AHBCLKDivider = RCC_SYSCLK_DIV1;
  RCC_ClkInitStruct.APB1CLKDivider = RCC_HCLK_DIV1;
  RCC_ClkInitStruct.APB2CLKDivider = RCC_HCLK_DIV1;

  if (HAL_RCC_ClockConfig(&RCC_ClkInitStruct, FLASH_LATENCY_1) != HAL_OK)
  {
    Error_Handler();
  }
  PeriphClkInit.PeriphClockSelection = RCC_PERIPHCLK_I2C1|RCC_PERIPHCLK_I2C3
                              |RCC_PERIPHCLK_LPTIM1;
  PeriphClkInit.I2c1ClockSelection = RCC_I2C1CLKSOURCE_PCLK1;
  PeriphClkInit.I2c3ClockSelection = RCC_I2C3CLKSOURCE_PCLK1;
  PeriphClkInit.LptimClockSelection = RCC_LPTIM1CLKSOURCE_LSI;

  if (HAL_RCCEx_PeriphCLKConfig(&PeriphClkInit) != HAL_OK)
  {
    Error_Handler();
  }
}

void Error_Handler(void)
{
}

/************************ (C) COPYRIGHT STMicroelectronics *****END OF FILE****/
